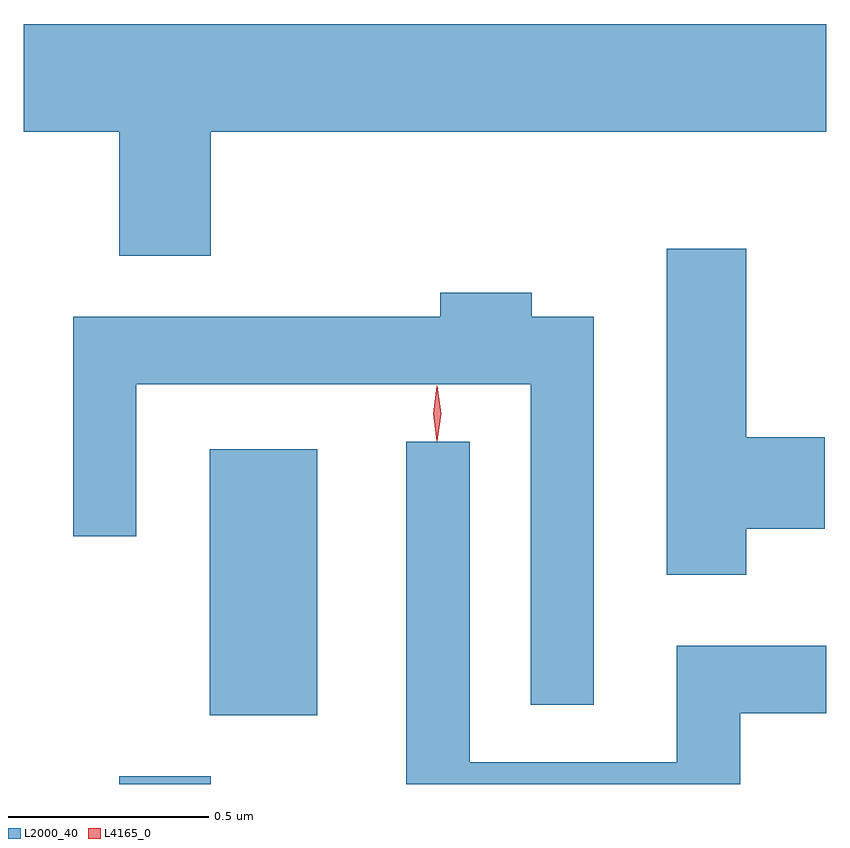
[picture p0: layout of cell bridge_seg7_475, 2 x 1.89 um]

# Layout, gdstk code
import gdstk
lib = gdstk.Library(unit=1e-6, precision=1e-09)
def R(c, l, rs):  # rectangles x0, y0, x1, y1
    for r in rs: c.add(gdstk.rectangle(r[:2], r[2:], *l))
def P(c, l, *ps):  # polygons
    for p in ps: c.add(gdstk.Polygon(p, *l))
L2000_40 = (2000, 40)
L4165_0 = (4165, 0)

bridge_seg7_475 = lib.new_cell('bridge_seg7_475')
R(bridge_seg7_475, L2000_40, [(1132.271,1683.83,1132.499,1683.849), (1132.496,1684.001,1132.764,1684.664)])
P(bridge_seg7_475, L2000_40, [(1132.499,1685.456),(1134.033,1685.456),(1134.033,1685.724),(1132.033,1685.724),(1132.033,1685.456),(1132.271,1685.456),(1132.271,1685.146),(1132.499,1685.146)],
  [(1133.834,1684.466),(1134.029,1684.466),(1134.029,1684.694),(1133.834,1684.694),(1133.834,1685.164),(1133.636,1685.164),(1133.636,1684.351),(1133.834,1684.351)],
  [(1133.454,1684.994),(1133.299,1684.994),(1133.299,1685.054),(1133.071,1685.054),(1133.071,1684.994),(1132.156,1684.994),(1132.156,1684.448),(1132.314,1684.448),(1132.314,1684.826),(1133.296,1684.826),(1133.296,1684.028),(1133.454,1684.028)],
  [(1133.819,1684.006),(1134.033,1684.006),(1134.033,1684.174),(1133.661,1684.174),(1133.661,1683.884),(1133.144,1683.884),(1133.144,1684.683),(1132.986,1684.683),(1132.986,1683.83),(1133.819,1683.83)])
P(bridge_seg7_475, L4165_0, [(1133.062,1684.684),(1133.053,1684.753),(1133.062,1684.822),(1133.063,1684.823),(1133.063,1684.822),(1133.073,1684.753),(1133.063,1684.684),(1133.063,1684.684)])

lib.write_gds('bridge_seg7_475.gds')
